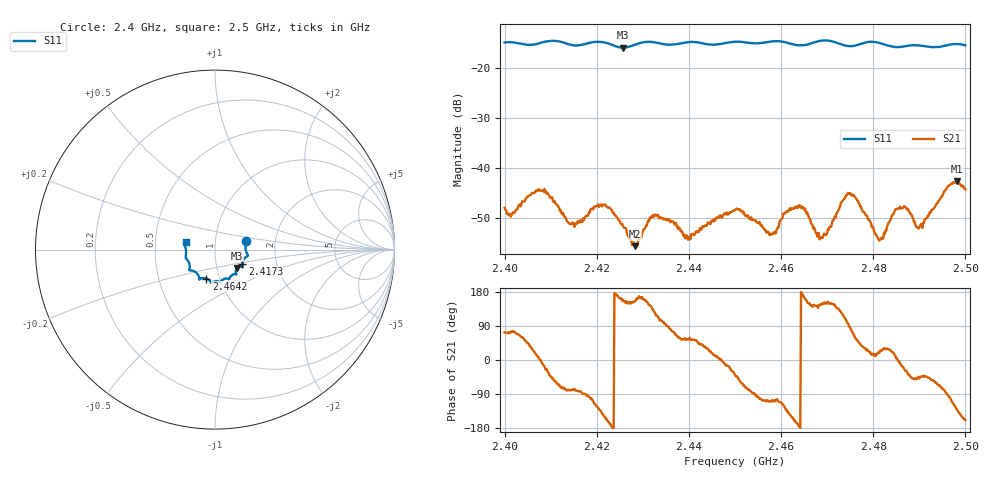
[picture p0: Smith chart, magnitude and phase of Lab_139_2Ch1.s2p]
# Hz S RI R 50
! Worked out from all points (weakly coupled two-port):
!   601 points, 2.4 GHz to 2.5 GHz, reference 50 ohm
!   highest |S21| = -42.59 dB at 2.4982 GHz (marker M1); lowest = -55.5 dB at 2.4283 GHz (marker M2)
!   lowest |S11| = -15.9 dB at 2.4257 GHz (marker M3), VSWR 1.38, Z = 62.4 - j13.1 ohm
!   |S11| at or under -10 dB: start of sweep to end of sweep
!   S12 and S22 are empty: the file has one direction only
!   S11 on the Smith chart (normalised r, x): 2.4 GHz: 1.41, +0.14; 2.4173 GHz: 1.34, -0.23; 2.4642 GHz: 0.86, -0.29; 2.5 GHz: 0.72, +0.06
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2.4e9  0.1731 0.0497  0.00119 0.00386  0 0  0 0
2.407833e9  0.1771 -0.0193  0.00594 -5.75e-05  0 0  0 0
2.414e9  0.1655 -0.0467  0.000573 -0.00277  0 0  0 0
2.416667e9  0.1528 -0.0746  0.000261 -0.00298  0 0  0 0
2.417333e9  0.1523 -0.0821  2.6e-05 -0.00317  0 0  0 0
2.421333e9  0.1539 -0.0956  -0.00343 -0.00257  0 0  0 0
2.425667e9  0.1226 -0.1023  -0.0025 0.000953  0 0  0 0
2.428333e9  0.1154 -0.1264  -0.00152 0.000689  0 0  0 0
2.433333e9  0.1126 -0.1368  -0.00126 0.00316  0 0  0 0
2.439833e9  0.0803 -0.1626  0.00115 0.00155  0 0  0 0
2.45e9  0.0295 -0.1809  0.00298 -0.00239  0 0  0 0
2.457833e9  -0.0179 -0.183  -0.000715 -0.00206  0 0  0 0
2.464167e9  -0.0482 -0.1613  -0.00422 -6.47e-05  0 0  0 0
2.466667e9  -0.0761 -0.1598  -0.00226 0.00159  0 0  0 0
2.469333e9  -0.0877 -0.1667  -0.00197 0.00106  0 0  0 0
2.474833e9  -0.1048 -0.1277  0.00025 0.00562  0 0  0 0
2.481167e9  -0.1425 -0.1083  0.00184 0.000628  0 0  0 0
2.483333e9  -0.1408 -0.0896  0.00253 0.00136  0 0  0 0
2.486667e9  -0.1536 -0.0585  0.00385 -0.00163  0 0  0 0
2.490167e9  -0.1625 -0.0402  0.00185 -0.00189  0 0  0 0
2.498167e9  -0.1704 0.0324  -0.00481 -0.00566  0 0  0 0
2.5e9  -0.1634 0.0419  -0.00572 -0.0023  0 0  0 0
